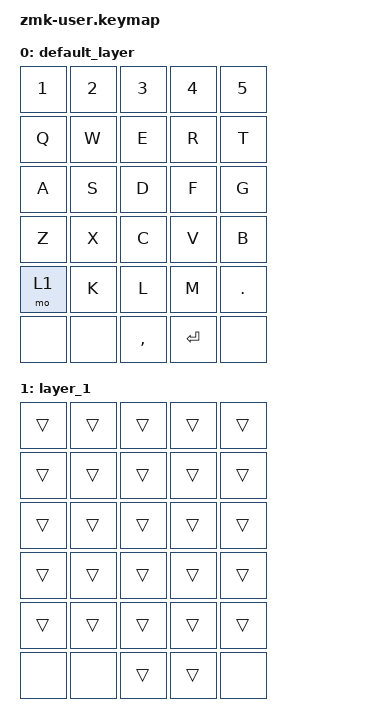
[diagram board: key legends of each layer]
/* config/zmk-user.keymap */

#include <dt-bindings/zmk/keys.h>

/ {
    keymap {
        compatible = "zmk,keymap";

        default_layer {
            bindings = <
                // Row 1
                &kp N1  &kp N2  &kp N3  &kp N4  &kp N5
                // Row 2
                &kp Q   &kp W   &kp E   &kp R   &kp T
                // Row 3
                &kp A   &kp S   &kp D   &kp F   &kp G
                // Row 4
                &kp Z   &kp X   &kp C   &kp V   &kp B
                // Row 5
                &mo 1   &kp K   &kp L   &kp M   &kp DOT
                // Row 6 (Only Col 3 and Col 4 are real keys, 27 total keys)
                &none   &none   &kp COMMA &kp ENTER &none
            >;
        };

        // Layer 1 - Example
        layer_1 {
            bindings = <
                // Must match the 6x5 matrix size
                &trans &trans &trans &trans &trans
                &trans &trans &trans &trans &trans
                &trans &trans &trans &trans &trans
                &trans &trans &trans &trans &trans
                &trans &trans &trans &trans &trans
                &none &none &trans &trans &none // Match &none positions
            >;
        };
    };
};
